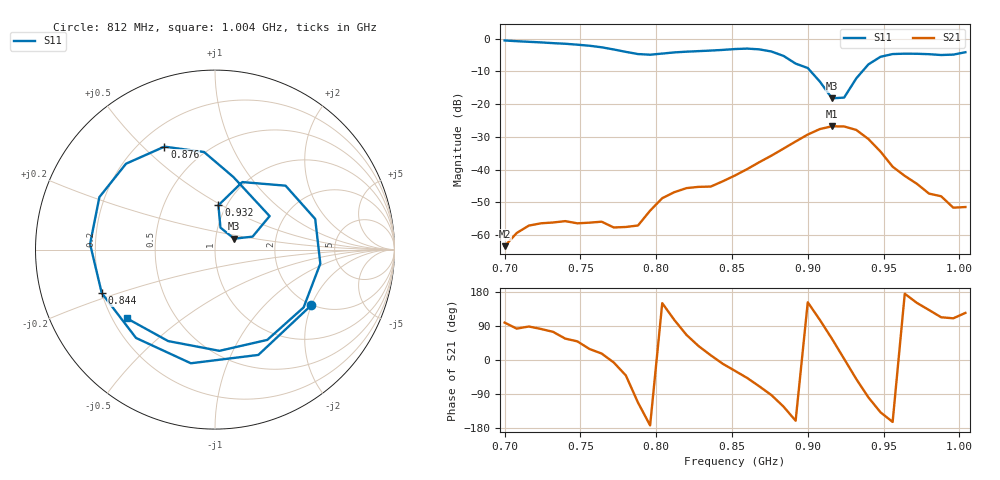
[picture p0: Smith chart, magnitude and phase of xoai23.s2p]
# Hz S RI R 50
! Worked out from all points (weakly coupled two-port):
!   39 points, 700 MHz to 1.004 GHz, reference 50 ohm
!   highest |S21| = -26.76 dB at 916 MHz (marker M1); lowest = -63.4 dB at 700 MHz (marker M2)
!   lowest |S11| = -18.2 dB at 916 MHz (marker M3), VSWR 1.28, Z = 61.4 + j7.59 ohm
!   |S11| at or under -10 dB: 902 MHz to 936 MHz (33.93 MHz wide, 3.69 % of centre)
!   S12 and S22 are empty: the file has one direction only
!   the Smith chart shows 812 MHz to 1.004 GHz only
!   S11 on the Smith chart (normalised r, x): 812 MHz: 1.98, -1.99; 844 MHz: 0.20, -0.18; 876 MHz: 0.30, +0.58; 932 MHz: 0.92, +0.48; 1.004 GHz: 0.26, -0.32
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7e8  0.7607 0.5564  -0.000102 0.000666  0 0  0 0
7.24e8  0.843 -0.2528  0.000213 0.00149  0 0  0 0
7.4e8  0.4555 -0.705  0.000899 0.00136  0 0  0 0
7.56e8  -0.1965 -0.7575  0.00135 0.000748  0 0  0 0
7.72e8  -0.6596 -0.1873  0.00129 -0.000148  0 0  0 0
7.8e8  -0.5838 0.2386  0.001 -0.000865  0 0  0 0
7.88e8  -0.2237 0.5392  -0.00053 -0.00129  0 0  0 0
7.96e8  0.264 0.5058  -0.00233 -0.000301  0 0  0 0
8.04e8  0.5762 0.1431  -0.00316 0.00182  0 0  0 0
8.12e8  0.5358 -0.3105  -0.0012 0.00435  0 0  0 0
8.28e8  -0.1345 -0.6333  0.00436 0.00325  0 0  0 0
8.44e8  -0.6309 -0.2425  0.00652 -0.00117  0 0  0 0
8.52e8  -0.696 0.0311  0.00712 -0.00389  0 0  0 0
8.76e8  -0.2816 0.5736  -0.000711 -0.0163  0 0  0 0
9e8  0.3043 0.1865  -0.0304 0.0159  0 0  0 0
9.08e8  0.2093 0.0722  -0.0113 0.0401  0 0  0 0
9.16e8  0.1067 0.0608  0.0258 0.038  0 0  0 0
9.32e8  0.0188 0.247  0.0259 -0.031  0 0  0 0
9.48e8  0.3932 0.3562  -0.014 -0.0126  0 0  0 0
9.56e8  0.5583 0.1705  -0.0106 -0.00315  0 0  0 0
9.8e8  0.2914 -0.503  -0.00286 0.00319  0 0  0 0
1.004e9  -0.4905 -0.3832  -0.00151 0.00221  0 0  0 0
